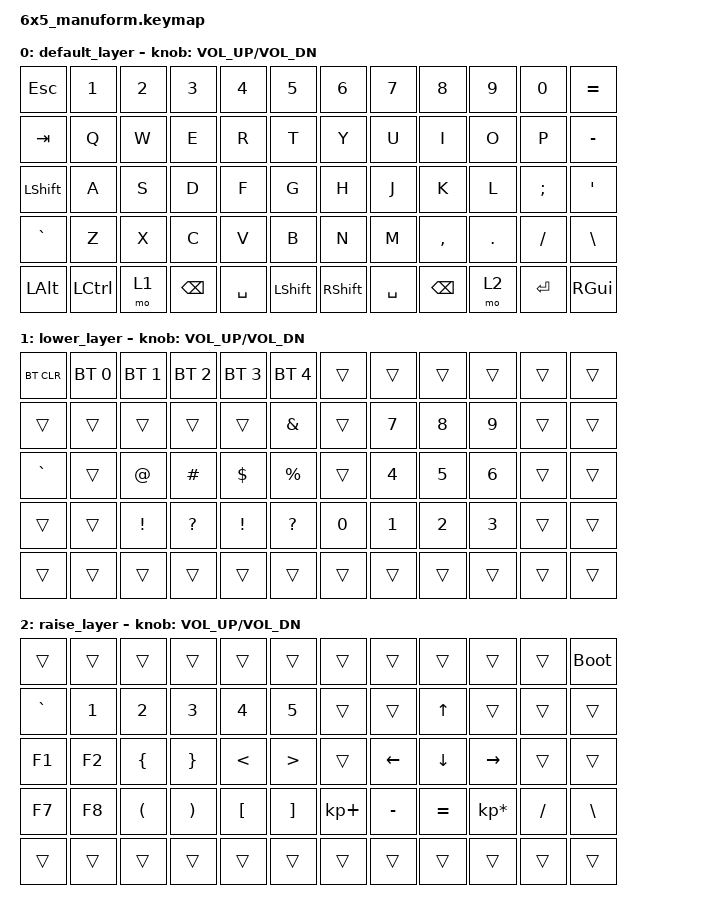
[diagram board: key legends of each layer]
/*
 * Copyright (c) 2020 The ZMK Contributors
 *
 * SPDX-License-Identifier: MIT
 */

#include <behaviors.dtsi>
#include <dt-bindings/zmk/keys.h>
#include <dt-bindings/zmk/bt.h>

/ {
    keymap {
        compatible = "zmk,keymap";

        default_layer {
            // ------------------------------------------------------------------------------------------------------------
            // |  ESC   |  1  |  2  |  3   |  4   |  5   |                    |  6   |  7    |  8    |  9   |   0   |   `   |
            // |  TAB   |  Q  |  W  |  E   |  R   |  T   |                    |  Y   |  U    |  I    |  O   |   P   |   -   |
            // |  CTRL  |  A  |  S  |  D   |  F   |  G   |                    |  H   |  J    |  K    |  L   |   ;   |   '   |
            // | SHIFT  |  Z  |  X  |  C   |  V   |  B   |                    |  N   |  M    |  ,    |  .   |   /   | SHIFT |
            // |    2   |  2  | f   | 6    | 4    | 1    |                    | 2    | 1     | w     | s    | n     |  a    |

            bindings = <
     &kp ESC     &kp N1  &kp N2         &kp N3     &kp N4          &kp N5           &kp N6     &kp N7         &kp N8   &kp N9     &kp N0  &kp EQUAL
     &kp TAB      &kp Q   &kp W          &kp E      &kp R           &kp T            &kp Y      &kp U          &kp I    &kp O      &kp P  &kp MINUS
   &kp LSHFT      &kp A   &kp S          &kp D      &kp F           &kp G            &kp H      &kp J          &kp K    &kp L   &kp SEMI    &kp SQT
   &kp GRAVE      &kp Z   &kp X          &kp C      &kp V           &kp B            &kp N      &kp M      &kp COMMA  &kp DOT   &kp FSLH   &kp BSLH
&kp LEFT_ALT  &kp LCTRL   &mo 1  &kp BACKSPACE  &kp SPACE  &kp LEFT_SHIFT  &kp RIGHT_SHIFT  &kp SPACE  &kp BACKSPACE    &mo 2  &kp ENTER   &kp RGUI
            >;

            sensor-bindings = <&inc_dec_kp C_VOL_UP C_VOL_DN>;
        };

        lower_layer {
            // ------------------------------------------------------------------------------------------------------------
            // | BTCLR | BT1 | BT2 |  BT3 |  BT4 |  BT5 |                   |      |       |       |      |       |       |
            // |  F1   |  F2 |  F3 |  F4  |  F5  |  F6  |                   |  F7  |  F8   |  F9   |  F10 |  F11  |  F12  |
            // |   `   |  !  |  @  |  #   |  $   |  %   |                   |  ^   |  &    |  *    |  (   |   )   |   ~   |
            // |       |     |     |      |      |      |                   |      |  _    |  +    |  {   |   }   |  "|"  |
            // |       |     |     |      |      |      |                   |      |       |       |      |       |       |

            bindings = <
&bt BT_CLR  &bt BT_SEL 0  &bt BT_SEL 1  &bt BT_SEL 2  &bt BT_SEL 3  &bt BT_SEL 4  &trans  &trans  &trans  &trans  &trans  &trans
    &trans        &trans        &trans        &trans        &trans      &kp AMPS  &trans  &kp N7  &kp N8  &kp N9  &trans  &trans
 &kp GRAVE        &trans        &kp AT      &kp HASH    &kp DOLLAR     &kp PRCNT  &trans  &kp N4  &kp N5  &kp N6  &trans  &trans
    &trans        &trans      &kp EXCL  &kp QUESTION      &kp EXCL  &kp QUESTION  &kp N0  &kp N1  &kp N2  &kp N3  &trans  &trans
    &trans        &trans        &trans        &trans        &trans        &trans  &trans  &trans  &trans  &trans  &trans  &trans
            >;

            sensor-bindings = <&inc_dec_kp C_VOL_UP C_VOL_DN>;
        };

        raise_layer {
            // ------------------------------------------------------------------------------------------------------------
            // |       |     |     |      |      |      |                   |      |       |       |      |       |       |
            // |   `   |  1  |  2  |  3   |  4   |  5   |                   |  6   |   7   |   8   |  9   |   0   |       |
            // |   F1  |  F2 |  F3 |  F4  |  F5  |  F6  |                   |      |   <-  |   v   |  ^   |  ->   |       |
            // |   F7  |  F8 |  F9 |  F10 |  F11 |  F12 |		             |  +   |   -   |   =   |  [   |   ]   |   \   |
            // |     |     |      |      |      |        |                   |       |      |       |       |      |       |

            bindings = <
   &trans  &trans                &trans                 &trans            &trans             &trans       &trans     &trans     &trans           &trans     &trans  &bootloader
&kp GRAVE  &kp N1                &kp N2                 &kp N3            &kp N4             &kp N5       &trans     &trans     &kp UP           &trans     &trans       &trans
   &kp F1  &kp F2        &kp LEFT_BRACE        &kp RIGHT_BRACE     &kp LESS_THAN   &kp GREATER_THAN       &trans   &kp LEFT   &kp DOWN        &kp RIGHT     &trans       &trans
   &kp F7  &kp F8  &kp LEFT_PARENTHESIS  &kp RIGHT_PARENTHESIS  &kp LEFT_BRACKET  &kp RIGHT_BRACKET  &kp KP_PLUS  &kp MINUS  &kp EQUAL  &kp KP_MULTIPLY  &kp SLASH     &kp BSLH
   &trans  &trans                &trans                 &trans            &trans             &trans       &trans     &trans     &trans           &trans     &trans       &trans
            >;

            sensor-bindings = <&inc_dec_kp C_VOL_UP C_VOL_DN>;
        };
    };
};
